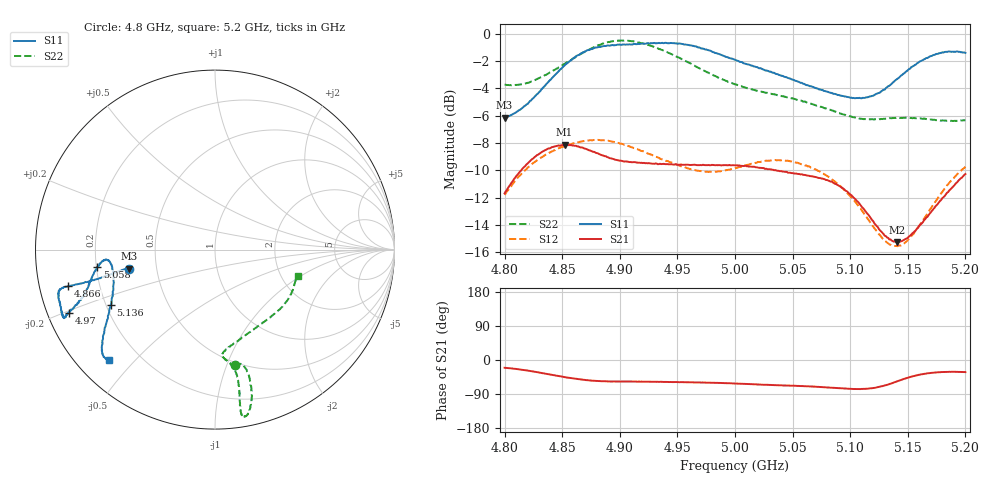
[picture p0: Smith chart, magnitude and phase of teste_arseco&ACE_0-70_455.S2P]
! Network Analyzer HP8722D
! Hewlett-Packard
! Data name: Linha & Wilkinson
! Saver's name: Rodrigo Anjos
! Comments: Teste da utilização de aquisição
! continua pelo VNA HP8722D
! Time and date: 8/5/2025 16:33
!  Frequency  S11  S21  S12  S22
# HZ  S  MA R 50
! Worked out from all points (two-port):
!   401 points, 4.8 GHz to 5.2 GHz, reference 50 ohm
!   highest |S21| = -8.13 dB at 4.852 GHz (marker M1); lowest = -15.3 dB at 5.141 GHz (marker M2)
!   |S21| within 3 dB of the highest: 4.804 GHz to 5.09 GHz (285.9 MHz wide, 5.78 % of centre); 5.190067 GHz to end of sweep
!   lowest |S11| = -6.1 dB at 4.8 GHz (marker M3), VSWR 2.94, Z = 17.2 - j4.84 ohm
!   |S11| at or under -10 dB: nowhere
!   |S22| runs from -6.4 to -0.5 dB; largest |S21 - S12| = 0.62
!   S11 on the Smith chart (normalised r, x): 4.8 GHz: 0.34, -0.10; 4.866 GHz: 0.08, -0.12; 4.97 GHz: 0.06, -0.21; 5.058 GHz: 0.20, -0.07; 5.136 GHz: 0.22, -0.24; 5.2 GHz: 0.09, -0.42
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4.8e9  0.4927 -167.5  0.2605 -20.6  0.2571 -141.7  0.6523 -80.3
4.827e9  0.594 -166.7  0.3561 -31.3  0.3413 -145.8  0.679 -75.7
4.852e9  0.7666 -165.8  0.3922 -45.0  0.3884 -150.4  0.776 -75.1
4.866e9  0.8456 -166.0  0.3833 -51.4  0.4027 -152.7  0.8435 -75.8
4.867e9  0.8501 -165.9  0.3837 -51.6  0.4033 -152.9  0.8467 -76.0
4.898e9  0.9128 -163.2  0.3444 -56.6  0.3984 -156.9  0.944 -79.5
4.913e9  0.9177 -160.1  0.3388 -57.0  0.3812 -157.3  0.9357 -80.7
4.934e9  0.926 -156.6  0.3333 -57.8  0.3512 -155.9  0.8793 -80.9
4.97e9  0.886 -156.6  0.3307 -59.4  0.3144 -147.2  0.7434 -79.9
5e9  0.8021 -159.4  0.3295 -62.1  0.3221 -137.6  0.6528 -81.6
5.035e9  0.7152 -165.8  0.3168 -66.5  0.3451 -134.9  0.5995 -85.8
5.058e9  0.6614 -171.8  0.3058 -68.7  0.3324 -136.9  0.5682 -84.6
5.067e9  0.6397 -173.5  0.3008 -69.9  0.323 -137.6  0.553 -82.7
5.083e9  0.6086 -174.6  0.2874 -73.1  0.2954 -139.1  0.5266 -76.6
5.1e9  0.5831 -171.8  0.258 -76.2  0.2545 -139.3  0.4991 -66.6
5.116e9  0.5875 -164.5  0.2168 -75.6  0.208 -135.2  0.4859 -54.9
5.134e9  0.6454 -153.3  0.1765 -63.6  0.1694 -119.0  0.4909 -42.8
5.136e9  0.6562 -152.1  0.1749 -61.5  0.1678 -116.5  0.4906 -41.6
5.141e9  0.6837 -149.4  0.1727 -55.9  0.1668 -109.9  0.4924 -38.8
5.153e9  0.7545 -144.6  0.1839 -44.1  0.1812 -94.9  0.4916 -32.6
5.173e9  0.8373 -138.8  0.2299 -33.3  0.2395 -80.8  0.4846 -24.1
5.2e9  0.8513 -133.7  0.3065 -31.9  0.3259 -77.5  0.4826 -17.6
